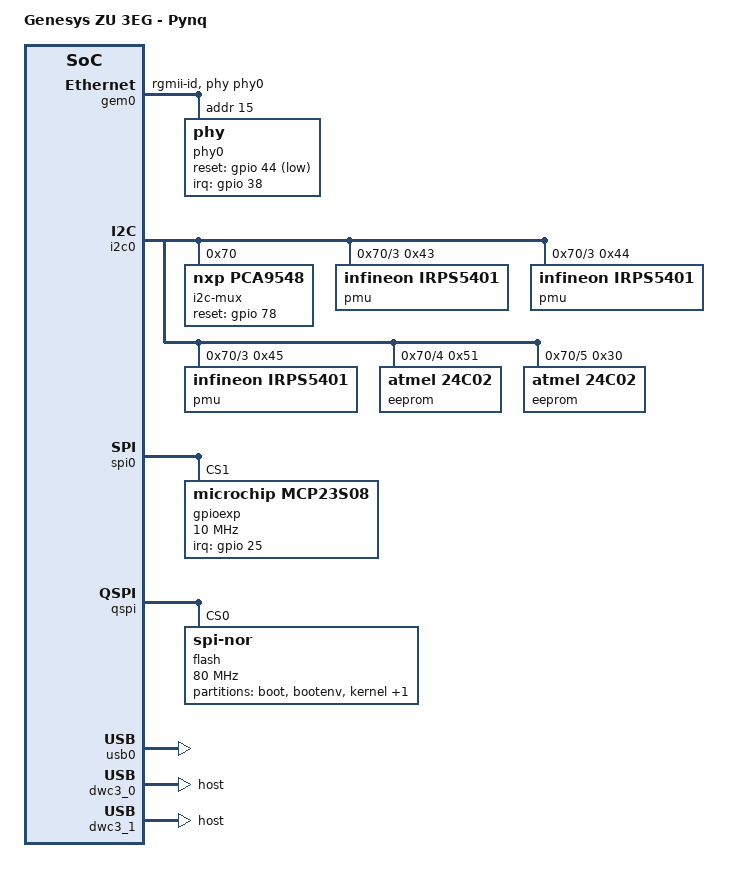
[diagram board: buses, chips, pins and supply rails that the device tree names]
#include <dt-bindings/interrupt-controller/irq.h>
#include <dt-bindings/gpio/gpio.h>
#include <dt-bindings/media/xilinx-vip.h>
#include <dt-bindings/net/ti-dp83867.h>
#include <dt-bindings/phy/phy.h>
#include <dt-bindings/mux/mux.h>

/ {
	model = "Genesys ZU 3EG - Pynq";

	reserved-memory {
		#address-cells = <2>;
		#size-cells = <2>;
		ranges;

		linux,cma {
			linux,cma-default;
			compatible = "shared-dma-pool";
			alloc-ranges = <0x0 0x0 0x0 0x7ff00000>;
			size = <0x0 0x20000000>;
			alignment = <0x0 0x2000>;
			reusable;
		};
	};
};

&sdhci1 {
	disable-wp;
	xlnx,itap-delay-sd-hsd = <0x29>;
	xlnx,itap-delay-sd-ddr50 = <0x32>;
	xlnx,itap-delay-sdr25 = <0x2A>;
	xlnx,itap-delay-sdr50 = <0x1E>;
	xlnx,itap-delay-sdr104 = <0x0B>; //although auto-tuned, tuning fails on some cards if not set
};

&gem0 {
	phy-handle = <&phy0>;
	phy-mode = "rgmii-id";
	phy0: phy@15 {
		reg = <0x0F>;
		reset-gpios = <&gpio 44 GPIO_ACTIVE_LOW>;
		reset-assert-us = <1>;
		reset_deassert-us = <200>;
		interrupt-parent = <&gpio>;
		interrupts = <38 IRQ_TYPE_LEVEL_LOW>;
		ti,rx-internal-delay = <DP83867_RGMIIDCTL_2_00_NS>; //overwrites strap config
		ti,tx-internal-delay = <DP83867_RGMIIDCTL_1_50_NS>; //overwrites strap config
		ti,fifo-depth = <DP83867_PHYCR_FIFO_DEPTH_4_B_NIB>;
		ti,clk-output-sel = <DP83867_CLK_O_SEL_REF_CLK>;
	};
};


/*
Adding support for the mux and expose all 8 segments.
RESET# pin of TCA9548 is inverted on-board. Mapped to
EMIO[0] which is line 78.
devicetree/bindings/i2c/i2c-mux-pca954x.txt
devicetree/bindings/mux/mux-controller.txt
*/
&i2c0 {
	i2c-mux@70 {
		compatible = "nxp,pca9548";
		#address-cells = <1>;
		#size-cells = <0>;
		reg = <0x70>;
		reset-gpios = <&gpio 78 GPIO_ACTIVE_HIGH>;
		i2c-mux-idle-disconnect;
		idle-state = <MUX_IDLE_DISCONNECT>;
		i2c@0 {
			#address-cells = <1>;
			#size-cells = <0>;
			reg = <0>;
		};
		i2c@1 {
			#address-cells = <1>;
			#size-cells = <0>;
			reg = <1>;
		};
		i2c@2 {
			#address-cells = <1>;
			#size-cells = <0>;
			reg = <2>;
		};
		i2c@3 {
			#address-cells = <1>;
			#size-cells = <0>;
			reg = <3>;
			pmu@43 { /* IRPS5401 - IC81 */
				#clock-cells = <0>;
				compatible = "infineon,irps5401";
				reg = <0x43>; /*PMBUS address*/
			};
			pmu@44 { /* IRPS5401 - IC83 */
				#clock-cells = <0>;
				compatible = "infineon,irps5401";
				reg = <0x44>; /*PMBUS address*/
			};
			pmu@45 { /* IRPS5401 - IC84 */
				#clock-cells = <0>;
				compatible = "infineon,irps5401";
				reg = <0x45>; /*PMBUS address*/
			};
		};
		i2c@4 {
			#address-cells = <1>;
			#size-cells = <0>;
			reg = <4>;
			eeprom@51 { /*FMC VITA 57.1 FRU*/
				compatible = "atmel,24c02";
				reg = <0x51>;
				pagesize = <1>; /* varies between models, so use a safe value */
			};
		};
		i2c@5 {
			#address-cells = <1>;
			#size-cells = <0>;
			reg = <5>;
			/* not sure if we should bind the eeprom driver to the SYZYGY DNA */
			eeprom@30 { /* SYZYGY DNA */
				compatible = "atmel,24c02";
				reg = <0x30>;
				read-only;
				address-width = <16>;
				size = <65536>; /*the whole 16-bit address range*/
			};
		};
		i2c@6 {
			#address-cells = <1>;
			#size-cells = <0>;
			reg = <6>;
		};
		i2c@7 {
			#address-cells = <1>;
			#size-cells = <0>;
			reg = <7>;
		};
	};
};

&spi0 {
	gpioexp: gpio@1 {
		compatible = "microchip,mcp23s08";
		gpio-controller;
		#reset-cells = <1>;
		#gpio-cells = <2>;
		interrupt-parent = <&gpio>;
		interrupts = <25 IRQ_TYPE_LEVEL_LOW>;
		microchip,spi-present-mask = <0x01>;
		interrupt-controller;
		#interrupt-cells = <0x2>;
		reg = <1>; /*SS[1]*/
		spi-max-frequency = <10000000>;
	};
/*	wilc_spi@0 {
		compatible = "microchip,wilc1000", "microchip,wilc3000";
		spi-max-frequency = <48000000>;
		reg = <0>;
		irq-gpios = <&gpioexp 1 0>;
		reset-gpios = <&gpioexp 2 0>;
		chip_en-gpios = <&gpioexp 0 0>;
		status = "okay";
	};*/
};


/* flash0 node is defined in system-conf by Petalinux */
&qspi {
	status = "okay";
	has-io-mode;  //Disables DMA for jffs2 (Needed for PL 2018.1)
 
	flash@0 {
		compatible = "jedec,spi-nor";
		reg = <0>;
		spi-max-frequency = <80000000>; /* IS25LP256D max frequency for normal read 03h/13h */
		spi-tx-bus-width = <1>; /*TODO: Would quad write work?*/
		spi-rx-bus-width = <1>; /* Quad does not work in 2020.1 */
		/delete-node/ partition@0;
		/delete-node/ partition@1;
		/delete-node/ partition@2;
		partitions {
			compatible = "fixed-partitions";
			#address-cells = <1>;
			#size-cells = <1>;

			partition@0 {
        	 	       label = "boot";
        	 	       reg = <0x00000000 0x00100000>;
                	};
			partition@1 {
                        	label = "bootenv";
                        	reg = <0x00100000 0x00040000>;
                	};
			partition@2 {
                        	label = "kernel";
                        	reg = <0x00140000 0x01600000>;
                	};
			partition@3 {
		        	label = "board-id";
		        	reg = <0x1FFF000 0x1000>;
				read-only;
			};
		};
   	};
};

/*was disabled*/
&usb0 {
	status = "okay";
};


&dwc3_0 {
	status = "okay";
	dr_mode = "host";
	maximum-speed = "super-speed";
};


&dwc3_1 {
	snps,dis_u2_susphy_quirk;
	snps,dis_u3_susphy_quirk;
	//resets = <&gpiom1 5>;
	dr_mode = "host";
};

&ams_pl {
	xlnx,ext-channels {
		#address-cells = <1>;
		#size-cells = <0>;
		channel@0 {
			reg = <0>;
		};
		channel@5 {
			reg = <5>;
		};
		channel@6 {
			reg = <6>;
		};
		channel@7 {
			reg = <7>;
		};
		channel@8 {
			reg = <8>;
		};
	};
};

&gpio {
	gpio-line-names =
	"gpio0",
	"gpio1",
	"gpio2",
	"gpio3",
	"gpio4",
	"gpio5",
	"gpio6",
	"gpio7",
	"gpio8",
	"gpio9",
	"btn1",
	"btn0",
	"gpio12",
	"gpio13",
	"gpio14",
	"gpio15",
	"gpio16",
	"gpio17",
	"gpio18",
	"gpio19",
	"gpio20",
	"led0",
	"gpio22",
	"gpio23",
	"gpio24",
	"gpio25",
	"gpio26",
	"gpio27",
	"gpio28",
	"gpio29",
	"gpio30",
	"gpio31",
	"gpio32",
	"gpio33",
	"gpio34",
	"gpio35",
	"gpio36",
	"gpio37",
	"gpio38",
	"gpio39",
	"gpio40",
	"gpio41",
	"gpio42",
	"gpio43",
	"gpio44",
	"gpio45",
	"gpio46",
	"gpio47",
	"gpio48",
	"gpio49",
	"gpio50",
	"gpio51",
	"gpio52",
	"gpio53",
	"gpio54",
	"gpio55",
	"gpio56",
	"gpio57",
	"gpio58",
	"gpio59",
	"gpio60",
	"gpio61",
	"gpio62",
	"gpio63",
	"gpio64",
	"gpio65",
	"gpio66",
	"gpio67",
	"gpio68",
	"gpio69",
	"gpio70",
	"gpio71",
	"gpio72",
	"gpio73",
	"gpio74",
	"gpio75",
	"gpio76",
	"gpio77",
	"iic_mux_reset",
	"mipiA_pwup",
	"mipiB_pwup",
	"gpio81",
	"gpio82",
	"gpio83",
	"gpio84",
	"gpio85",
	"gpio86",
	"gpio87",
	"gpio88",
	"gpio89",
	"gpio90",
	"gpio91",
	"gpio92",
	"gpio93",
	"gpio94",
	"gpio95",
	"gpio96",
	"gpio97",
	"gpio98",
	"gpio99",
	"gpio100",
	"gpio101",
	"gpio102",
	"gpio103",
	"gpio104",
	"gpio105",
	"gpio106",
	"gpio107",
	"gpio108",
	"gpio109",
	"gpio110",
	"gpio111",
	"gpio112",
	"gpio113",
	"gpio114",
	"gpio115",
	"gpio116",
	"gpio117",
	"gpio118",
	"gpio119",
	"gpio120",
	"gpio121",
	"gpio122",
	"gpio123",
	"gpio124",
	"gpio125",
	"gpio126",
	"gpio127",
	"gpio128",
	"gpio129",
	"gpio130",
	"gpio131",
	"gpio132",
	"gpio133",
	"gpio134",
	"gpio135",
	"gpio136",
	"gpio137",
	"gpio138",
	"gpio139",
	"gpio140",
	"gpio141",
	"gpio142",
	"gpio143",
	"gpio144",
	"gpio145",
	"gpio146",
	"gpio147",
	"gpio148",
	"gpio149",
	"gpio150",
	"gpio151",
	"gpio152",
	"gpio153",
	"gpio154",
	"gpio155",
	"gpio156",
	"gpio157",
	"gpio158",
	"gpio159",
	"gpio160",
	"gpio161",
	"gpio162",
	"gpio163",
	"gpio164",
	"gpio165",
	"gpio166",
	"gpio167",
	"gpio168",
	"gpio169",
	"gpio170",
	"gpio171",
	"gpio172",
	"gpio173";

};

/* PYNQ reqs*/
/ {
	xlnk {
		compatible = "xlnx,xlnk-1.0";
	};
};

&amba {
	zyxclmm_drm {
		compatible = "xlnx,zocl";
		status = "okay";
	};
};

/ {
	fabric@A0000000 {
		compatible = "generic-uio";
		reg = <0x0 0xA0000000 0x0 0x10000>;
		interrupt-parent = <&gic>;
		interrupts = <0x0 0x59 0x4>;
	};
};


